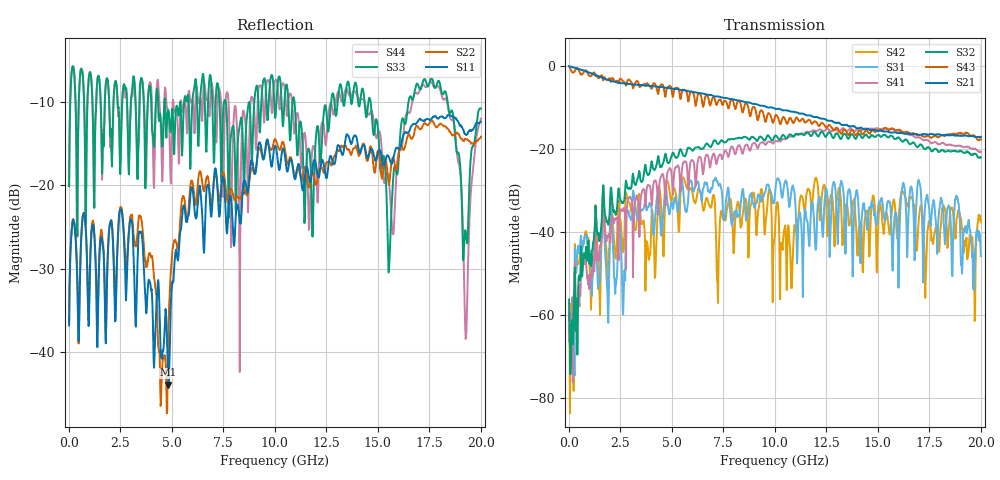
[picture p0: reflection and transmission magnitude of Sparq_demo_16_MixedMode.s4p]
# MHz MA S R 50.0
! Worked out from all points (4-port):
!   1000 points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, 20 MHz to 20 GHz, reference 50 ohm
!   strongest paths, dB at 20 MHz, 5.02 GHz, 10.02 GHz, 15.02 GHz, 20 GHz:
!     S21: -0.1, -5.5, -10.4, -15.7, -17.1
!     S43: -0.2, -6.7, -12.0, -15.4, -17.8
!     S32: -56.3, -21.3, -16.8, -16.7, -22.0
!     S41: -62.8, -28.2, -18.1, -15.1, -20.8
!     S31: -61.4, -33.0, -30.2, -34.0, -45.9
!     S42: -57.4, -31.7, -38.6, -38.3, -37.7
!   lowest |S11| = -43.9 dB at 4.84 GHz (marker M1), VSWR 1.01, Z = 50.2 + j0.614 ohm
!   |S11| at or under -10 dB: start of sweep to end of sweep
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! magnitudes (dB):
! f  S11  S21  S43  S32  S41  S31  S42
! 20 MHz  -36.8  -0.1  -0.2  -56.3  -62.8  -61.4  -57.4
! 800 MHz  -24.2  -1.3  -1.1  -46.4  -46.7  -41.3  -40.2
! 4.84 GHz  -43.9  -5.4  -5.0  -23.4  -25.1  -34.8  -28.5
! 15.56 GHz  -16.8  -16.0  -15.4  -17.1  -15.3  -33.0  -40.4
! 17.92 GHz  -12.0  -16.5  -17.2  -20.6  -18.9  -39.5  -43.8
! 19.28 GHz  -13.9  -16.8  -16.2  -20.9  -19.5  -39.4  -42.4
! 20 GHz  -12.3  -17.1  -17.8  -22.0  -20.8  -45.9  -37.7
